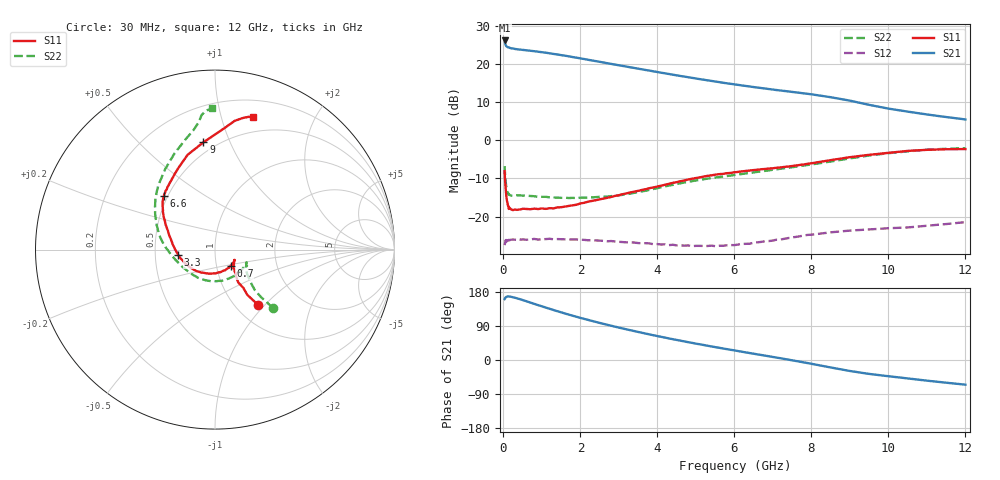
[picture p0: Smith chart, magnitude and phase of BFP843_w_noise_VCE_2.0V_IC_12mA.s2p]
! Infineon Technologies  Discrete & RF Semiconductors
! BFP843
! VCE =  2.0 V,  IC =  12 mA
! Common Emitter S-Parameters:  Aug 2013
# GHz  S  MA  R  50
!  f  S11  S21  S12  S22
! GHz  MAG  ANG  MAG  ANG  MAG  ANG  MAG  ANG
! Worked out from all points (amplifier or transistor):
!   103 points, 30 MHz to 12 GHz, reference 50 ohm
!   highest |S21| = 26.1 dB at 30 MHz (marker M1)
!   |S21| within 3 dB of that: start of sweep to 945.5 MHz
!   unconditionally stable (mu >= 1): 129.1 MHz to 134.6 MHz; 140.9 MHz to 10.85 GHz
!   at 400 MHz: K = 1.02, MAG = 24.0 dB, |S12| = -25.8 dB
!   at 3.7 GHz: K = 1.36, MAG = 19.1 dB, |S12| = -26.9 dB
!   at 12 GHz: K = 0.83, MSG = 13.4 dB, |S12| = -21.4 dB
!   lowest NFmin = 0.94 dB at 450 MHz
!   S11 on the Smith chart (normalised r, x): 30 MHz: 1.26, -0.92; 700 MHz: 1.17, -0.22; 3.3 GHz: 0.66, -0.04; 6.6 GHz: 0.48, +0.34; 9 GHz: 0.43, +0.80; 12 GHz: 0.35, +1.26
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0.03  0.3928 -52.0  20.2 160.7  0.0425 28.3  0.4587 -45.1
0.04  0.3093 -54.5  18.78 162.1  0.0447 22.7  0.3707 -45.9
0.05  0.2658 -53.5  18 164.7  0.0473 22.6  0.3171 -45.5
0.07  0.1957 -52.5  17.08 166.3  0.0484 14.7  0.2536 -40.9
0.13  0.1367 -40.1  16.42 167.9  0.049 7.3  0.1963 -28.5
0.3  0.1243 -27.4  15.63 164.3  0.05 3.4  0.1904 -21.6
0.7  0.1253 -46.3  14.82 151.5  0.0504 0.0  0.1868 -35.3
1.1  0.1267 -69.8  13.97 138.3  0.051 -1.9  0.1821 -54.6
1.4  0.1322 -88.0  13.24 128.8  0.051 -3.4  0.1776 -69.0
1.7  0.1385 -105.1  12.51 119.7  0.0505 -4.4  0.1755 -83.2
2.1  0.1522 -126.3  11.54 108.4  0.0498 -6.0  0.1773 -101.6
2.6  0.1728 -147.0  10.4 95.3  0.0483 -8.1  0.1835 -122.0
3.3  0.2076 -172.0  8.992 78.5  0.0461 -9.5  0.2008 -149.0
4.1  0.2549 166.0  7.65 61.1  0.0433 -8.9  0.2426 -172.4
5  0.3209 150.5  6.43 43.2  0.0416 -4.9  0.298 171.2
6.1  0.386 139.2  5.293 23.5  0.0433 2.1  0.3566 156.0
6.6  0.4118 133.7  4.89 14.8  0.0462 5.2  0.3862 149.6
7.6  0.4673 119.9  4.231 -2.6  0.0545 6.8  0.4515 136.3
8.5  0.5498 106.1  3.657 -19.7  0.0625 3.3  0.527 121.8
9  0.6009 96.2  3.297 -29.0  0.0659 -0.2  0.5795 113.1
10.5  0.7259 81.3  2.37 -48.6  0.0724 -6.7  0.7152 97.3
12  0.7677 74.2  1.872 -65.1  0.085 -13.5  0.7882 91.2
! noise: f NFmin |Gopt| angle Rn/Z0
0.45  0.94  0.04  5  0.02
0.9  0.95  0.04  16  0.05
1.5  0.97  0.04  24  0.11
1.9  0.99  0.04  34  0.18
2.4  1.02  0.03  44  0.24
3.5  1.07  0.01  58  0.27
5.5  1.19  0.18  -121  0.33
10  1.8  0.5  -65  0.45
